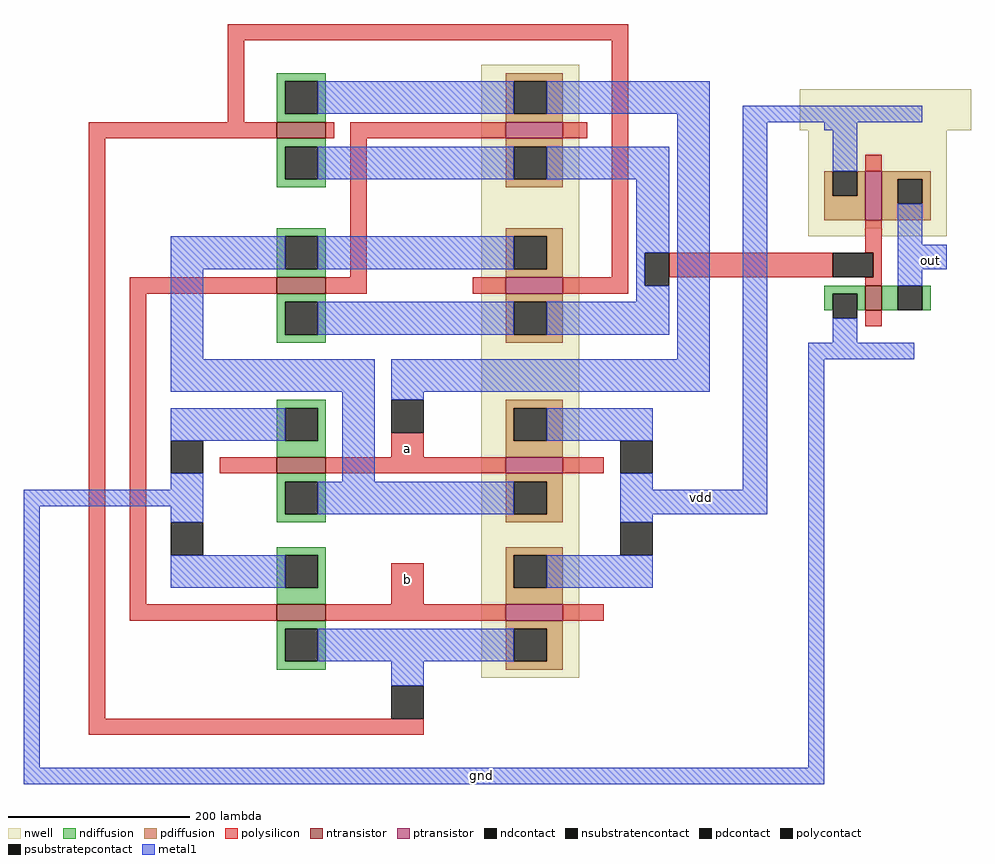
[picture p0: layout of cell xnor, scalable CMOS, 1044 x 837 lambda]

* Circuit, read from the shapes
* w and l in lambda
.subckt xnor a b gnd out vdd
M1 gnd b n1 gnd nfet w=54 l=18
M2 gnd a n2 gnd nfet w=54 l=18
M3 n2 b n3 gnd nfet w=54 l=18
M4 a n1 n3 gnd nfet w=54 l=18
M5 out n3 gnd gnd nfet w=27 l=18
M6 vdd b n1 n4 pfet w=63 l=18
M7 vdd a n2 n4 pfet w=63 l=18
M8 n2 n1 n3 n4 pfet w=63 l=18
M9 a b n3 n4 pfet w=63 l=18
M10 out n3 vdd n5 pfet w=54 l=18
.ends

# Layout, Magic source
magic
tech scmos
magscale 9 1
<< nwell >>
rect -52 10 -40 85
rect -13 77 8 82
rect -12 65 5 77
rect -12 64 -5 65
rect -3 64 5 65
<< ntransistor >>
rect -77 76 -71 78
rect -77 57 -71 59
rect -5 55 -3 58
rect -77 35 -71 37
rect -77 17 -71 19
<< ptransistor >>
rect -49 76 -42 78
rect -5 66 -3 72
rect -49 57 -42 59
rect -49 35 -42 37
rect -49 17 -42 19
<< ndiffusion >>
rect -77 83 -71 84
rect -77 79 -76 83
rect -72 79 -71 83
rect -77 78 -71 79
rect -77 75 -71 76
rect -77 71 -76 75
rect -72 71 -71 75
rect -77 70 -71 71
rect -77 64 -71 65
rect -77 60 -76 64
rect -72 60 -71 64
rect -77 59 -71 60
rect -10 57 -5 58
rect -77 56 -71 57
rect -77 52 -76 56
rect -72 52 -71 56
rect -77 51 -71 52
rect -10 55 -9 57
rect -6 55 -5 57
rect -3 55 -1 58
rect 2 55 3 58
rect -77 43 -71 44
rect -77 39 -76 43
rect -72 39 -71 43
rect -77 37 -71 39
rect -77 34 -71 35
rect -77 30 -76 34
rect -72 30 -71 34
rect -77 29 -71 30
rect -77 25 -71 26
rect -77 21 -76 25
rect -72 21 -71 25
rect -77 19 -71 21
rect -77 16 -71 17
rect -77 12 -76 16
rect -72 12 -71 16
rect -77 11 -71 12
<< pdiffusion >>
rect -49 83 -42 84
rect -49 79 -48 83
rect -44 79 -42 83
rect -49 78 -42 79
rect -49 75 -42 76
rect -49 71 -48 75
rect -44 71 -42 75
rect -49 70 -42 71
rect -49 64 -42 65
rect -49 60 -48 64
rect -44 60 -42 64
rect -49 59 -42 60
rect -10 69 -9 72
rect -6 69 -5 72
rect -10 66 -5 69
rect -3 71 3 72
rect -3 68 -1 71
rect 2 68 3 71
rect -3 66 3 68
rect -49 56 -42 57
rect -49 52 -48 56
rect -44 52 -42 56
rect -49 51 -42 52
rect -49 43 -42 44
rect -49 39 -48 43
rect -44 39 -42 43
rect -49 37 -42 39
rect -49 34 -42 35
rect -49 30 -48 34
rect -44 30 -42 34
rect -49 29 -42 30
rect -49 25 -42 26
rect -49 21 -48 25
rect -44 21 -42 25
rect -49 19 -42 21
rect -49 16 -42 17
rect -49 12 -48 16
rect -44 12 -42 16
rect -49 11 -42 12
<< ndcontact >>
rect -76 79 -72 83
rect -76 71 -72 75
rect -76 60 -72 64
rect -76 52 -72 56
rect -9 54 -6 57
rect -1 55 2 58
rect -76 39 -72 43
rect -76 30 -72 34
rect -76 21 -72 25
rect -76 12 -72 16
<< pdcontact >>
rect -48 79 -44 83
rect -48 71 -44 75
rect -48 60 -44 64
rect -9 69 -6 72
rect -1 68 2 71
rect -48 52 -44 56
rect -48 39 -44 43
rect -48 30 -44 34
rect -48 21 -44 25
rect -48 12 -44 16
<< psubstratepcontact >>
rect -90 35 -86 39
rect -90 25 -86 29
<< nsubstratencontact >>
rect -35 35 -31 39
rect -35 25 -31 29
<< polysilicon >>
rect -83 88 -34 90
rect -83 78 -81 88
rect -100 76 -77 78
rect -71 76 -70 78
rect -68 76 -49 78
rect -42 76 -39 78
rect -100 5 -98 76
rect -68 59 -66 76
rect -36 59 -34 88
rect -5 72 -3 74
rect -5 62 -3 66
rect -95 57 -77 59
rect -71 57 -66 59
rect -53 57 -49 59
rect -42 57 -34 59
rect -29 59 -9 62
rect -4 59 -3 62
rect -5 58 -3 59
rect -95 19 -93 57
rect -5 53 -3 55
rect -63 37 -59 40
rect -84 35 -77 37
rect -71 35 -49 37
rect -42 35 -37 37
rect -63 19 -59 24
rect -95 17 -77 19
rect -71 17 -49 19
rect -42 17 -37 19
rect -100 3 -59 5
<< polycontact >>
rect -32 58 -29 62
rect -9 59 -4 62
rect -63 40 -59 44
rect -63 5 -59 9
<< metal1 >>
rect -72 79 -48 83
rect -44 79 -24 83
rect -72 71 -48 75
rect -44 71 -29 75
rect -90 60 -76 64
rect -72 60 -48 64
rect -33 62 -29 71
rect -90 49 -86 60
rect -33 58 -32 62
rect -33 56 -29 58
rect -72 52 -48 56
rect -44 52 -29 56
rect -28 49 -24 79
rect -90 45 -65 49
rect -90 39 -76 43
rect -90 33 -86 35
rect -69 34 -65 45
rect -63 45 -24 49
rect -20 78 2 80
rect -63 44 -59 45
rect -44 39 -31 43
rect -108 31 -86 33
rect -108 -1 -106 31
rect -90 29 -86 31
rect -72 30 -48 34
rect -35 33 -31 35
rect -20 33 -17 78
rect -10 77 -6 78
rect -9 72 -6 77
rect -1 63 2 68
rect -1 60 5 63
rect -1 58 2 60
rect -9 51 -6 54
rect -35 30 -17 33
rect -12 49 1 51
rect -35 29 -31 30
rect -90 21 -76 25
rect -44 21 -31 25
rect -72 12 -48 16
rect -63 9 -59 12
rect -12 -1 -10 49
rect -108 -3 -10 -1
<< labels >>
rlabel polysilicon -61 38 -61 38 1 a
rlabel polysilicon -61 22 -61 22 1 b
rlabel metal1 3 61 3 61 7 out
rlabel metal1 -52 -2 -52 -2 1 gnd
rlabel metal1 -25 32 -25 32 1 vdd
<< end >>
